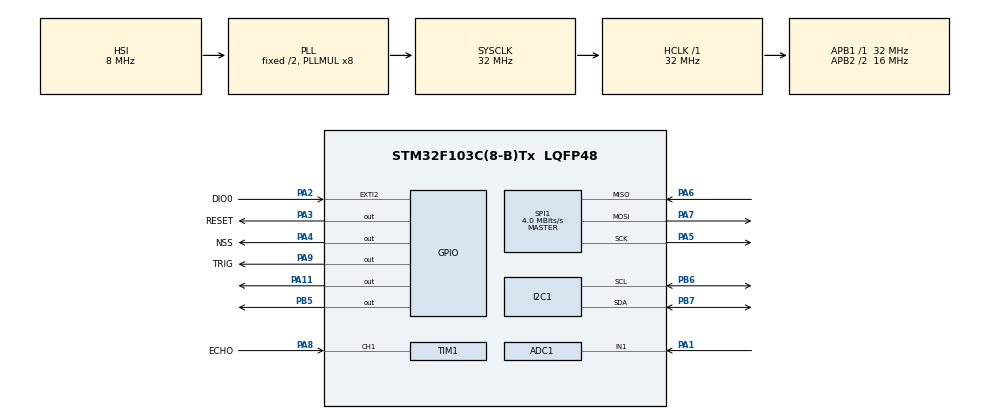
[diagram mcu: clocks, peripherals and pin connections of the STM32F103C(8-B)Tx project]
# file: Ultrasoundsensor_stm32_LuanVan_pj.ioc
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ADC1.Channel-2\#ChannelRegularConversion=ADC_CHANNEL_1
ADC1.ContinuousConvMode=ENABLE
ADC1.NbrOfConversionFlag=1
ADC1.Rank-2\#ChannelRegularConversion=1
ADC1.SamplingTime-2\#ChannelRegularConversion=ADC_SAMPLETIME_239CYCLES_5
ADC1.master=1
I2C1.I2C_Mode=I2C_Fast
Mcu.Family=STM32F1
Mcu.Name=STM32F103C(8-B)Tx
Mcu.Package=LQFP48
NVIC.EXTI2_IRQn=true\:0\:0\:true\:false\:true\:true\:true
NVIC.PriorityGroup=NVIC_PRIORITYGROUP_4
NVIC.TIM1_CC_IRQn=true\:1\:0\:true\:false\:true\:true\:true
PA1.Signal=ADCx_IN1
PA11.Signal=GPIO_Output
PA13.Mode=Serial_Wire
PA13.Signal=SYS_JTMS-SWDIO
PA14.Mode=Serial_Wire
PA14.Signal=SYS_JTCK-SWCLK
PA2.GPIO_Label=DIO0
PA2.GPIO_ModeDefaultEXTI=GPIO_MODE_IT_RISING
PA2.GPIO_PuPd=GPIO_PULLDOWN
PA2.Signal=GPXTI2
PA3.GPIO_Label=RESET
PA3.Signal=GPIO_Output
PA4.GPIO_Label=NSS
PA4.Signal=GPIO_Output
PA5.Mode=Full_Duplex_Master
PA5.Signal=SPI1_SCK
PA6.Mode=Full_Duplex_Master
PA6.Signal=SPI1_MISO
PA7.Mode=Full_Duplex_Master
PA7.Signal=SPI1_MOSI
PA8.GPIO_Label=ECHO
PA8.Signal=S_TIM1_CH1
PA9.GPIO_Label=TRIG
PA9.Signal=GPIO_Output
PB5.PinState=GPIO_PIN_RESET
PB5.Signal=GPIO_Output
PB6.Mode=I2C
PB6.Signal=I2C1_SCL
PB7.Mode=I2C
PB7.Signal=I2C1_SDA
PD0-OSC_IN.Mode=HSE-External-Oscillator
PD0-OSC_IN.Signal=RCC_OSC_IN
PD1-OSC_OUT.Mode=HSE-External-Oscillator
PD1-OSC_OUT.Signal=RCC_OSC_OUT
ProjectManager.HeapSize=0x200
ProjectManager.StackSize=0x400
ProjectManager.TargetToolchain=MDK-ARM V5.27
RCC.AHBFreq_Value=32000000
RCC.APB1Freq_Value=32000000
RCC.APB1TimFreq_Value=32000000
RCC.APB2CLKDivider=RCC_HCLK_DIV2
RCC.APB2Freq_Value=16000000
RCC.APB2TimFreq_Value=32000000
RCC.HCLKFreq_Value=32000000
RCC.PLLMUL=RCC_PLL_MUL8
RCC.SYSCLKFreq_VALUE=32000000
RCC.SYSCLKSource=RCC_SYSCLKSOURCE_PLLCLK
RCC.USBFreq_Value=32000000
SH.ADCx_IN1.0=ADC1_IN1,IN1
SH.S_TIM1_CH1.0=TIM1_CH1,Input_Capture1_from_TI1
SPI1.BaudRatePrescaler=SPI_BAUDRATEPRESCALER_4
SPI1.CalculateBaudRate=4.0 MBits/s
SPI1.Direction=SPI_DIRECTION_2LINES
SPI1.Mode=SPI_MODE_MASTER
SPI1.VirtualType=VM_MASTER
TIM1.Channel-Input_Capture1_from_TI1=TIM_CHANNEL_1
TIM1.Prescaler=32-1
VP_TIM1_VS_ClockSourceINT.Mode=Internal
board=custom

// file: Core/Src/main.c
/* USER CODE BEGIN Header */
/**
  ******************************************************************************
  * @file           : main.c
  * @brief          : Main program body
  ******************************************************************************
  * @attention
  *
  * <h2><center>&copy; Copyright (c) 2020 STMicroelectronics.
  * All rights reserved.</center></h2>
  *
  * This software component is licensed by ST under BSD 3-Clause license,
  * the "License"; You may not use this file except in compliance with the
  * License. You may obtain a copy of the License at:
  *                        opensource.org/licenses/BSD-3-Clause
  *
  ******************************************************************************
  */
/* USER CODE END Header */
#include "main.h"
#include "adc.h"
#include "i2c.h"
#include "spi.h"
#include "tim.h"
#include "gpio.h"

/* USER CODE BEGIN Includes */
#include "ssd1306.h"
#include "fonts.h"
#include "stdio.h"
#include "SX1278.h"
/* USER CODE END Includes */

/* USER CODE BEGIN PTD */
#define DS18B20_PORT GPIOA
#define DS18B20_PIN  GPIO_PIN_11
/* USER CODE END PTD */

/* USER CODE BEGIN PD */

uint32_t cap1=0;
uint32_t cap2=0;
uint32_t diff=0;
uint8_t is_fist_capture=0;
uint32_t distance =0;
uint32_t tam;
uint8_t total = 0;
uint8_t medium=0;
int test = 45;
char t[4];
uint32_t sum_distance = 0;
SX1278_hw_t SX1278_hw;
SX1278_t SX1278;
int master;
int ret;
char buffer[64];
int message_length;
int ret_sent;
int ret;
char buffsent[64];
int get_adc;
uint8_t flag =0;
uint8_t Presence =0;
uint8_t Temp_byte1 =0;
uint8_t Temp_byte2 = 0;
uint16_t TEMP =0 ;
uint8_t Temperature =0;
float ADC =0;
uint8_t Percent_humidity =0;
uint16_t time_reset =0;
uint8_t enable_sleep =0;
/* USER CODE END PD */

/* USER CODE BEGIN PV */
void delay_us (uint16_t us){
	__HAL_TIM_SET_COUNTER(&htim1,0);
	while(__HAL_TIM_GET_COUNTER(&htim1)<us);
}// end void delay_us ()

void Set_Pin_Output (GPIO_TypeDef *GPIOx, uint16_t GPIO_Pin)
{
	GPIO_InitTypeDef GPIO_InitStruct = {0};
	GPIO_InitStruct.Pin = GPIO_Pin;
	GPIO_InitStruct.Mode = GPIO_MODE_OUTPUT_PP;
	GPIO_InitStruct.Speed = GPIO_SPEED_FREQ_LOW;
	HAL_GPIO_Init(GPIOx, &GPIO_InitStruct);
}

void Set_Pin_Input (GPIO_TypeDef *GPIOx, uint16_t GPIO_Pin)
{
	GPIO_InitTypeDef GPIO_InitStruct = {0};
	GPIO_InitStruct.Pin = GPIO_Pin;
	GPIO_InitStruct.Mode = GPIO_MODE_INPUT;
	GPIO_InitStruct.Pull = GPIO_PULLUP;
	HAL_GPIO_Init(GPIOx, &GPIO_InitStruct);
}

uint8_t DS18B20_Start (void)
{
	uint8_t Response = 0;
	Set_Pin_Output(DS18B20_PORT, DS18B20_PIN);   // set the pin as output
	HAL_GPIO_WritePin (DS18B20_PORT, DS18B20_PIN, 0);  // pull the pin low
	delay_us (480);   // delay_us according to datasheet

	Set_Pin_Input(DS18B20_PORT, DS18B20_PIN);    // set the pin as input
	delay_us (80);    // delay_us according to datasheet

	if (!(HAL_GPIO_ReadPin (DS18B20_PORT, DS18B20_PIN))) Response = 1;    // if the pin is low i.e the presence pulse is detected
	else Response = -1;

	delay_us (400); // 480 us delay_us totally.

	return Response;
}

void DS18B20_Write (uint8_t data)
{
	Set_Pin_Output(DS18B20_PORT, DS18B20_PIN);  // set as output

	for (int i=0; i<8; i++)
	{

		if ((data & (1<<i))!=0)  // if the bit is high
		{
			// write 1

			Set_Pin_Output(DS18B20_PORT, DS18B20_PIN);  // set as output
			HAL_GPIO_WritePin (DS18B20_PORT, DS18B20_PIN, 0);  // pull the pin LOW
			delay_us (1);  // wait for 1 us

			Set_Pin_Input(DS18B20_PORT, DS18B20_PIN);  // set as input
			delay_us (50);  // wait for 60 us
		}

		else  // if the bit is low
		{
			// write 0

			Set_Pin_Output(DS18B20_PORT, DS18B20_PIN);
			HAL_GPIO_WritePin (DS18B20_PORT, DS18B20_PIN, 0);  // pull the pin LOW
			delay_us (50);  // wait for 60 us

			Set_Pin_Input(DS18B20_PORT, DS18B20_PIN);
		}
	}
}

uint8_t DS18B20_Read (void)
{
	uint8_t value=0;

	Set_Pin_Input(DS18B20_PORT, DS18B20_PIN);

	for (int i=0;i<8;i++)
	{
		Set_Pin_Output(DS18B20_PORT, DS18B20_PIN);   // set as output

		HAL_GPIO_WritePin (DS18B20_PORT, DS18B20_PIN, 0);  // pull the data pin LOW
		delay_us (2);  // wait for > 1us

		Set_Pin_Input(DS18B20_PORT, DS18B20_PIN);  // set as input
		if (HAL_GPIO_ReadPin (DS18B20_PORT, DS18B20_PIN))  // if the pin is HIGH
		{
			value |= 1<<i;  // read = 1
		}
		delay_us (50);  // wait for 60 us
	}
	return value;
}

uint8_t Read_temp(){
		DS18B20_Start ();
	  HAL_Delay (1);
	  DS18B20_Write (0xCC);  // skip ROM
	  DS18B20_Write (0x44);  // convert t
	  HAL_Delay (800);

		Presence = DS18B20_Start ();
		HAL_Delay(1);
		DS18B20_Write (0xCC);  // skip ROM
		DS18B20_Write (0xBE);  // Read Scratch-pad

		Temp_byte1 = DS18B20_Read();
	  Temp_byte2 = DS18B20_Read();
	  TEMP = (Temp_byte2<<8)|Temp_byte1;
	  Temperature = (float)TEMP/16;
}
/* USER CODE END PV */

void SystemClock_Config(void);
/* USER CODE BEGIN PFP */
int _write(int file, char *ptr, int len) {
	int i;
	for (i = 0; i < len; i++) {
		ITM_SendChar(*ptr++);
	}
	return len;
}// end _write ()

//void delay_us (uint16_t us);
void read_SR04();
/* USER CODE END PFP */

int main(void)
{

  /* MCU Configuration--------------------------------------------------------*/

  /* Reset of all peripherals, Initializes the Flash interface and the Systick. */
  HAL_Init();

  /* Configure the system clock */
  SystemClock_Config();

  /* Initialize all configured peripherals */
  MX_GPIO_Init();
  MX_TIM1_Init();
  MX_I2C1_Init();
  MX_SPI1_Init();
  MX_ADC1_Init();
  /* USER CODE BEGIN 2 */
//  HAL_TIM_Base_Start(&htim1);
  HAL_TIM_IC_Start_IT(&htim1, TIM_CHANNEL_1);
//	HAL_TIM_Base_Start(&htim2);
//	HAL_TIM_IC_Start_IT(&htim2, TIM_CHANNEL_1);
	HAL_ADC_Start(&hadc1);
  SSD1306_Init ();

  SX1278_hw.dio0.port = DIO0_GPIO_Port;
  SX1278_hw.dio0.pin = DIO0_Pin;
  SX1278_hw.nss.port = NSS_GPIO_Port;
  SX1278_hw.nss.pin = NSS_Pin;
  SX1278_hw.reset.port = RESET_GPIO_Port;
  SX1278_hw.reset.pin = RESET_Pin;
  SX1278_hw.spi = &hspi1;
  SX1278.hw = &SX1278_hw;
  SX1278_begin(&SX1278, SX1278_433MHZ, SX1278_POWER_10DBM, SX1278_LORA_SF_10,
    				SX1278_LORA_BW_250KHZ, 10);

  /* USER CODE END 2 */

  /* Infinite loop */
  /* USER CODE BEGIN WHILE */
  SX1278_LoRaEntryRx(&SX1278,16, 2000);

	Read_temp();
		for(int i = 0; i<5;i++){
			read_SR04();
			HAL_Delay(70);
      }
	  if (distance < 100){
		  sprintf(t,"%d",distance);
		  t[2]=' ';
		  t[3]=' ';
	  }else if(distance >=100 && distance < 1000){
		  sprintf(t,"%d",distance);
		  t[3]=' ';
	  }else {
		  sprintf(t,"%d",distance);
	  }
		ADC = 0;
		for( int i =0; i<10;i++){
			ADC= ADC + HAL_ADC_GetValue(&hadc1);
		}
		Percent_humidity = 100 - ((float)ADC *100)/(3980*10);
	  SSD1306_GotoXY (10,20);  // goto 10, 10
	  SSD1306_Puts ("Distance:", &Font_7x10, 1);
	  SSD1306_Puts (t, &Font_7x10, 1);
		SSD1306_Puts ("           ", &Font_7x10, 1);

		char temp_str[3];
		sprintf ( temp_str,"%d",Temperature);
		SSD1306_GotoXY (10,33);  // goto 10, 10
	  SSD1306_Puts ("Temp:", &Font_7x10, 1);
	  SSD1306_Puts (temp_str, &Font_7x10, 1);

		char humidity_str[3];
		if ( Percent_humidity < 100 ){
			sprintf ( humidity_str,"%d",Percent_humidity);
			humidity_str[2] =' ';
			SSD1306_GotoXY (10,46);  // goto 10, 10
			SSD1306_Puts ("Hump:", &Font_7x10, 1);
			SSD1306_Puts (humidity_str, &Font_7x10, 1);
			SSD1306_Puts ("   ", &Font_7x10, 1);
		}else {
			sprintf ( humidity_str,"%d",Percent_humidity);
			SSD1306_GotoXY (10,46);  // goto 10, 10
			SSD1306_Puts ("Hump:", &Font_7x10, 1);
			SSD1306_Puts (humidity_str, &Font_7x10, 1);
		}// end if

		SSD1306_GotoXY (100,20);  // goto 10, 10
	  SSD1306_Puts ("   ", &Font_7x10, 1);

	  SSD1306_UpdateScreen();

  while (1)
  {
	if(flag == 1){
		HAL_ResumeTick();
		enable_sleep = 1;
		Read_temp();
		for(int i = 0; i<5;i++){
			read_SR04();
			HAL_Delay(70);
      }
	  if (distance < 100){
		  sprintf(t,"%d",distance);
		  t[2]=' ';
		  t[3]=' ';
	  }else if(distance >=100 && distance < 1000){
		  sprintf(t,"%d",distance);
		  t[3]=' ';
	  }else {
		  sprintf(t,"%d",distance);
	  }
		ADC = 0;
		for( int i =0; i<10;i++){
			ADC= ADC + HAL_ADC_GetValue(&hadc1);
		}
		Percent_humidity = 100 - ((float)ADC *100)/(3980*10);
	  SSD1306_GotoXY (10,20);  // goto 10, 10
	  SSD1306_Puts ("Distance:", &Font_7x10, 1);
	  SSD1306_Puts (t, &Font_7x10, 1);
		SSD1306_Puts ("           ", &Font_7x10, 1);

		char temp_str[3];
		sprintf ( temp_str,"%d",Temperature);
		SSD1306_GotoXY (10,33);  // goto 10, 10
	  SSD1306_Puts ("Temp:", &Font_7x10, 1);
	  SSD1306_Puts (temp_str, &Font_7x10, 1);

		char humidity_str[3];
		if ( Percent_humidity < 100 ){
			sprintf ( humidity_str,"%d",Percent_humidity);
			humidity_str[2] =' ';
			SSD1306_GotoXY (10,46);  // goto 10, 10
			SSD1306_Puts ("Hump:", &Font_7x10, 1);
			SSD1306_Puts (humidity_str, &Font_7x10, 1);
			SSD1306_Puts ("   ", &Font_7x10, 1);
		}else {
			sprintf ( humidity_str,"%d",Percent_humidity);
			SSD1306_GotoXY (10,46);  // goto 10, 10
			SSD1306_Puts ("Hump:", &Font_7x10, 1);
			SSD1306_Puts (humidity_str, &Font_7x10, 1);
		}// end if

		SSD1306_GotoXY (100,20);  // goto 10, 10
	  SSD1306_Puts ("   ", &Font_7x10, 1);

	  SSD1306_UpdateScreen();
	  message_length = sprintf(buffsent, "N1:%d:%d:%d", distance,Temperature,Percent_humidity);

	  for(int i =0; i < 3; i++){
		  ret_sent = SX1278_LoRaEntryTx(&SX1278, message_length, 1000);
		  ret_sent = SX1278_LoRaTxPacket(&SX1278, (uint8_t* )buffsent, message_length,1000);
	  }
	  SX1278_LoRaEntryRx(&SX1278,16, 1000);
	  flag = 0;
	//	__HAL_TIM_SetCounter(&htim2,0);
		time_reset =0;
		HAL_SuspendTick();
		HAL_PWR_EnterSLEEPMode(PWR_MAINREGULATOR_ON,PWR_SLEEPENTRY_WFI);

	}// end if ( flag)

/*
	if (__HAL_TIM_GetCounter(&htim2)>=60000){
		time_reset ++;
		if (time_reset > 8000) HAL_NVIC_SystemReset();
	}// end if
*/
	if (enable_sleep){
		HAL_PWR_EnterSLEEPMode(PWR_MAINREGULATOR_ON,PWR_SLEEPENTRY_WFI);
		HAL_SuspendTick();
	}// end if

    /* USER CODE END WHILE */

    /* USER CODE BEGIN 3 */
  }// end while(1)
  /* USER CODE END 3 */
}

void SystemClock_Config(void)
{
  RCC_OscInitTypeDef RCC_OscInitStruct = {0};
  RCC_ClkInitTypeDef RCC_ClkInitStruct = {0};
  RCC_PeriphCLKInitTypeDef PeriphClkInit = {0};

  /** Initializes the RCC Oscillators according to the specified parameters
  * in the RCC_OscInitTypeDef structure.
  */
  RCC_OscInitStruct.OscillatorType = RCC_OSCILLATORTYPE_HSI;
  RCC_OscInitStruct.HSIState = RCC_HSI_ON;
  RCC_OscInitStruct.HSICalibrationValue = RCC_HSICALIBRATION_DEFAULT;
  RCC_OscInitStruct.PLL.PLLState = RCC_PLL_ON;
  RCC_OscInitStruct.PLL.PLLSource = RCC_PLLSOURCE_HSI_DIV2;
  RCC_OscInitStruct.PLL.PLLMUL = RCC_PLL_MUL8;
  if (HAL_RCC_OscConfig(&RCC_OscInitStruct) != HAL_OK)
  {
    Error_Handler();
  }
  /** Initializes the CPU, AHB and APB buses clocks
  */
  RCC_ClkInitStruct.ClockType = RCC_CLOCKTYPE_HCLK|RCC_CLOCKTYPE_SYSCLK
                              |RCC_CLOCKTYPE_PCLK1|RCC_CLOCKTYPE_PCLK2;
  RCC_ClkInitStruct.SYSCLKSource = RCC_SYSCLKSOURCE_PLLCLK;
  RCC_ClkInitStruct.AHBCLKDivider = RCC_SYSCLK_DIV1;
  RCC_ClkInitStruct.APB1CLKDivider = RCC_HCLK_DIV1;
  RCC_ClkInitStruct.APB2CLKDivider = RCC_HCLK_DIV2;

  if (HAL_RCC_ClockConfig(&RCC_ClkInitStruct, FLASH_LATENCY_1) != HAL_OK)
  {
    Error_Handler();
  }
  PeriphClkInit.PeriphClockSelection = RCC_PERIPHCLK_ADC;
  PeriphClkInit.AdcClockSelection = RCC_ADCPCLK2_DIV2;
  if (HAL_RCCEx_PeriphCLKConfig(&PeriphClkInit) != HAL_OK)
  {
    Error_Handler();
  }
}

/* USER CODE BEGIN 4 */

void read_SR04(){
		HAL_GPIO_WritePin(TRIG_GPIO_Port, TRIG_Pin, GPIO_PIN_RESET);
		delay_us(2);
		HAL_GPIO_WritePin(TRIG_GPIO_Port, TRIG_Pin, GPIO_PIN_SET);
		delay_us(10);
		HAL_GPIO_WritePin(TRIG_GPIO_Port, TRIG_Pin, GPIO_PIN_RESET);
		__HAL_TIM_ENABLE_IT(&htim1, TIM_IT_CC1);

}// end read_SR04

void HAL_TIM_IC_CaptureCallback (TIM_HandleTypeDef *htim){

	if(htim -> Channel == HAL_TIM_ACTIVE_CHANNEL_1 ){
		if(is_fist_capture == 0){
			cap1 = HAL_TIM_ReadCapturedValue(&htim1, TIM_CHANNEL_1);
			is_fist_capture = 1;
			__HAL_TIM_SET_CAPTUREPOLARITY(&htim1,TIM_CHANNEL_1,TIM_INPUTCHANNELPOLARITY_FALLING);
		}else if(is_fist_capture == 1){
			cap2 = HAL_TIM_ReadCapturedValue(&htim1, TIM_CHANNEL_1);
			__HAL_TIM_SET_COUNTER(&htim1, 0);
			if(cap2 > cap1){
				diff = cap2 - cap1;
			}else if (cap1 > cap2){
				diff = (0xffff - cap1) + cap2;
			}// end else if

			distance = (diff*0.343)/2 + 45;
//		 tam = diff/5.8; //(diff*0.34/2);//
//		 distance = tam + 25;
//		 if(tam < 260){
//			 distance=tam+25;
//		 }else{
//
//			 distance = tam + 130;
//		 }
		 is_fist_capture = 0;
		 __HAL_TIM_SET_CAPTUREPOLARITY(&htim1,TIM_CHANNEL_1,TIM_INPUTCHANNELPOLARITY_RISING);
		 __HAL_TIM_DISABLE_IT(&htim1,TIM_IT_CC1);
		}// end else if
	}// end if

}// end HAL_TIM_IC_CaptureCallback

/* USER CODE END 4 */

void Error_Handler(void)
{
}

/************************ (C) COPYRIGHT STMicroelectronics *****END OF FILE****/
